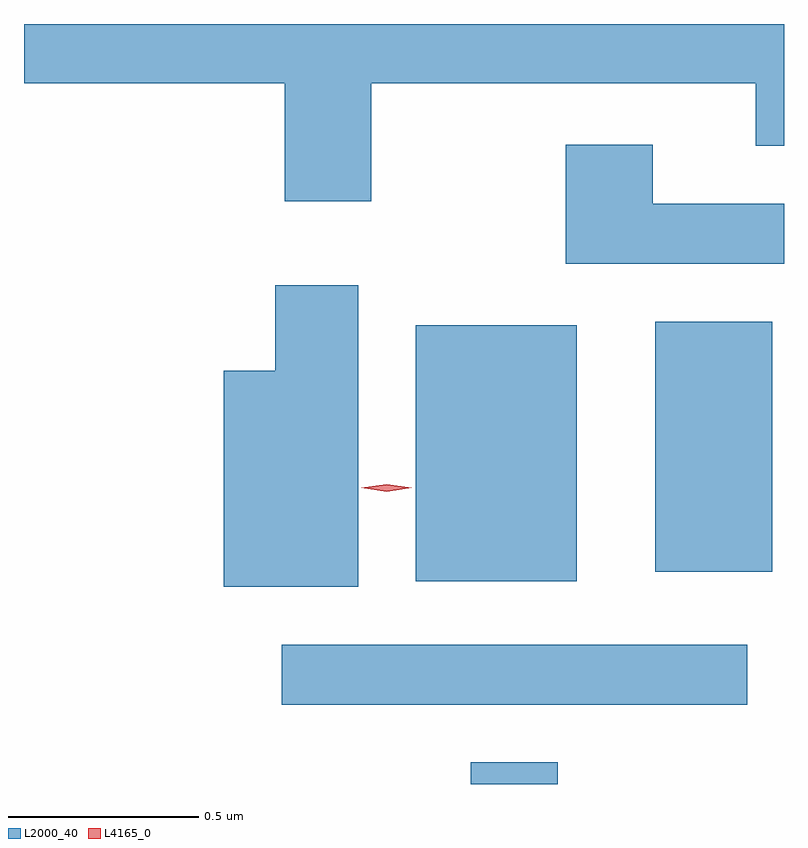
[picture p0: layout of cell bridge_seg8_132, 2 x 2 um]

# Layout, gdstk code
import gdstk
lib = gdstk.Library(unit=1e-6, precision=1e-09)
def R(c, l, rs):  # rectangles x0, y0, x1, y1
    for r in rs: c.add(gdstk.rectangle(r[:2], r[2:], *l))
def P(c, l, *ps):  # polygons
    for p in ps: c.add(gdstk.Polygon(p, *l))
L2000_40 = (2000, 40)
L4165_0 = (4165, 0)

bridge_seg8_132 = lib.new_cell('bridge_seg8_132')
R(bridge_seg8_132, L2000_40, [(1791.271,1823.472,1791.499,1823.529), (1790.773,1823.681,1791.998,1823.839), (1791.126,1824.006,1791.549,1824.679), (1791.756,1824.031,1792.064,1824.689)])
P(bridge_seg8_132, L2000_40, [(1791.009,1825.316),(1792.021,1825.316),(1792.021,1825.151),(1792.095,1825.151),(1792.095,1825.472),(1790.095,1825.472),(1790.095,1825.316),(1790.781,1825.316),(1790.781,1825.006),(1791.009,1825.006)],
  [(1792.095,1824.999),(1791.749,1824.999),(1791.749,1825.154),(1791.521,1825.154),(1791.521,1824.841),(1792.095,1824.841)],
  [(1790.974,1824.784),(1790.756,1824.784),(1790.756,1824.559),(1790.621,1824.559),(1790.621,1823.991),(1790.974,1823.991)])
P(bridge_seg8_132, L4165_0, [(1791.049,1824.241),(1790.983,1824.251),(1790.983,1824.251),(1790.983,1824.252),(1791.049,1824.261),(1791.116,1824.252),(1791.116,1824.251),(1791.116,1824.251)])

lib.write_gds('bridge_seg8_132.gds')
